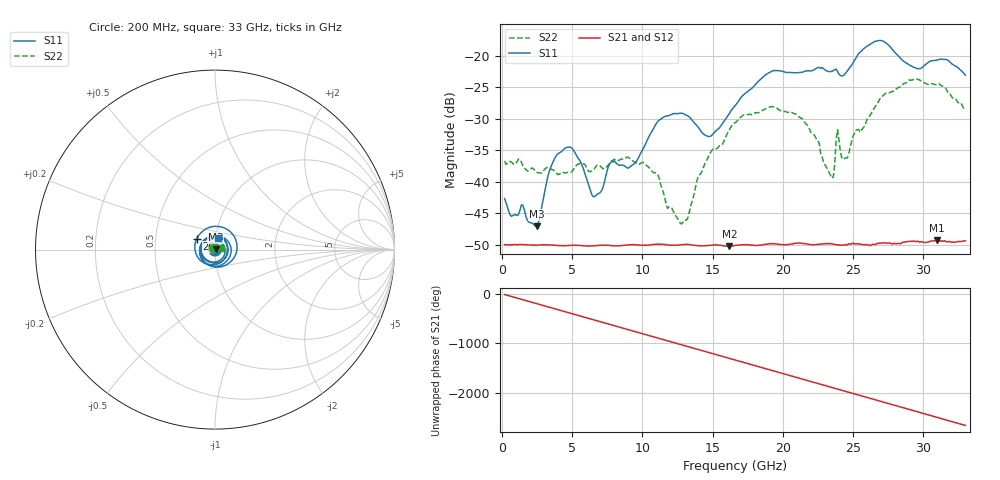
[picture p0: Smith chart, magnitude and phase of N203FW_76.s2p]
# GHZ S RI R 50
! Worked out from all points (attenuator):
!   329 points, 200 MHz to 33 GHz, reference 50 ohm
!   highest |S21| = -49.26 dB at 31 GHz (marker M1); lowest = -50.2 dB at 16.2 GHz (marker M2)
!   lowest |S11| = -47.0 dB at 2.5 GHz (marker M3), VSWR 1.01, Z = 50.4 + j0.229 ohm
!   |S11| at or under -10 dB: start of sweep to end of sweep
!   |S22| runs from -46.7 to -23.7 dB; largest |S21 - S12| = 8.9e-05
!   S11 on the Smith chart (normalised r, x): 200 MHz: 1.01, +0.01; 26 GHz: 0.81, +0.10; 33 GHz: 1.03, +0.14
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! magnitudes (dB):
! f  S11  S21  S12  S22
! 200 MHz  -42.7  -50.0  -49.9  -36.7
! 2.5 GHz  -47.0  -50.0  -50.0  -38.5
! 3.9 GHz  -35.8  -50.1  -50.1  -38.6
! 5.7 GHz  -37.3  -50.1  -50.1  -37.2
! 6.6 GHz  -42.3  -50.1  -50.1  -37.9
! 7.8 GHz  -36.8  -50.1  -50.1  -36.7
! 9 GHz  -37.8  -50.0  -50.0  -36.1
! 11.2 GHz  -30.2  -49.9  -49.9  -39.4
! 12.8 GHz  -29.1  -50.0  -49.9  -46.7
! 14.8 GHz  -32.8  -50.1  -50.1  -35.6
! 16.2 GHz  -29.2  -50.2  -50.2  -31.7
! 16.6 GHz  -28.0  -50.1  -50.1  -30.6
! 19.3 GHz  -22.4  -49.8  -49.8  -28.1
! 22.1 GHz  -22.4  -50.0  -49.9  -32.3
! 23.5 GHz  -22.5  -49.8  -49.8  -39.4
! 23.9 GHz  -22.5  -50.0  -50.0  -31.7
! 24.3 GHz  -23.2  -50.0  -49.9  -36.5
! 26 GHz  -18.5  -50.0  -50.0  -30.1
! 27.6 GHz  -18.5  -49.7  -49.7  -25.9
! 29.6 GHz  -22.1  -49.4  -49.5  -23.8
! 31 GHz  -20.7  -49.3  -49.2  -24.6
! 33 GHz  -23.1  -49.4  -49.4  -28.7
